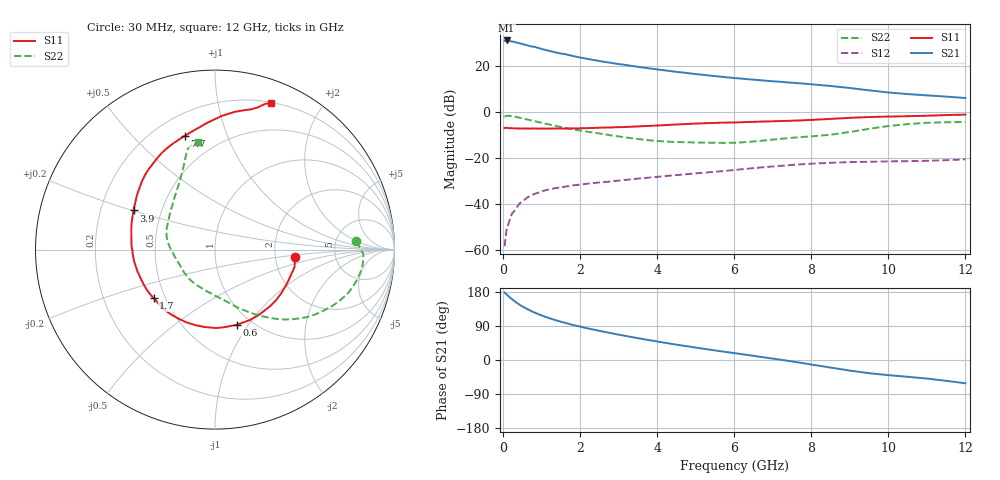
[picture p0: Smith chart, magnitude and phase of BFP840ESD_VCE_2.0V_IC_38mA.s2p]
! Infineon Technologies  Discrete & RF Semiconductors
! BFP840ESD
! VCE =  2.0 V,  IC =  38 mA
! Common Emitter S-Parameters:  May 2012
# GHz  S  MA  R  50
!  f  S11  S21  S12  S22
! GHz  MAG  ANG  MAG  ANG  MAG  ANG  MAG  ANG
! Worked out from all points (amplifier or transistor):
!   93 points, 30 MHz to 12 GHz, reference 50 ohm
!   highest |S21| = 31.1 dB at 80 MHz (marker M1)
!   |S21| within 3 dB of that: start of sweep to 850.8 MHz
!   unconditionally stable (mu >= 1): start of sweep to 145.5 MHz; 2.651 GHz to 9.561 GHz
!   at 1.1 GHz: K = 0.67, MSG = 30.5 dB, |S12| = -34.1 dB
!   at 4.2 GHz: K = 1.15, MAG = 20.7 dB, |S12| = -27.9 dB
!   at 12 GHz: K = 0.74, MSG = 13.3 dB, |S12| = -20.6 dB
!   S11 on the Smith chart (normalised r, x): 30 MHz: 2.59, -0.25; 600 MHz: 0.85, -0.88; 1.7 GHz: 0.43, -0.29; 3.9 GHz: 0.35, +0.20; 7.7 GHz: 0.32, +0.72; 12 GHz: 0.20, +1.43
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0.03  0.4471 -5.0  35.1 178.0  0.0012 70.3  0.7887 3.3
0.08  0.454 -12.1  36.07 173.2  0.0027 79.7  0.8268 -1.7
0.23  0.4423 -33.3  34.19 159.8  0.0063 70.9  0.8075 -12.5
0.33  0.4398 -45.9  32.68 151.9  0.008 69.6  0.7814 -17.9
0.43  0.4382 -57.1  31.15 145.2  0.0104 65.5  0.749 -22.6
0.6  0.436 -74.0  28.56 135.3  0.0134 61.3  0.692 -29.6
0.7  0.4353 -83.1  26.97 130.2  0.0151 58.9  0.6629 -33.2
0.8  0.4372 -89.2  26.29 125.6  0.0164 57.0  0.6341 -36.4
1.1  0.4354 -111.7  22.29 113.5  0.0198 51.2  0.5547 -44.6
1.4  0.4375 -128.5  19.45 103.6  0.0223 47.6  0.4894 -51.1
1.7  0.4364 -141.7  17.35 95.4  0.0244 44.7  0.4351 -56.8
2.1  0.4439 -158.1  14.74 85.5  0.0269 43.5  0.382 -63.3
2.5  0.455 -171.2  12.84 76.7  0.0293 42.2  0.3399 -69.6
2.9  0.4652 177.6  11.36 68.6  0.0315 41.4  0.3017 -76.3
3.9  0.5036 154.3  8.658 50.5  0.0382 39.2  0.238 -100.0
4.1  0.5137 150.2  8.223 47.0  0.0396 38.5  0.2311 -105.7
5  0.5593 136.3  6.692 32.7  0.0462 35.9  0.217 -130.8
6.1  0.5953 124.2  5.411 16.8  0.0557 32.4  0.2165 -160.0
7.7  0.6555 105.0  4.209 -7.0  0.0724 20.5  0.283 162.7
8.5  0.7077 93.5  3.683 -20.0  0.0785 12.8  0.3201 141.8
10.5  0.8095 75.2  2.455 -44.3  0.085 -3.4  0.5452 107.4
12  0.8754 69.2  2.012 -61.4  0.0932 -11.4  0.6067 99.2
